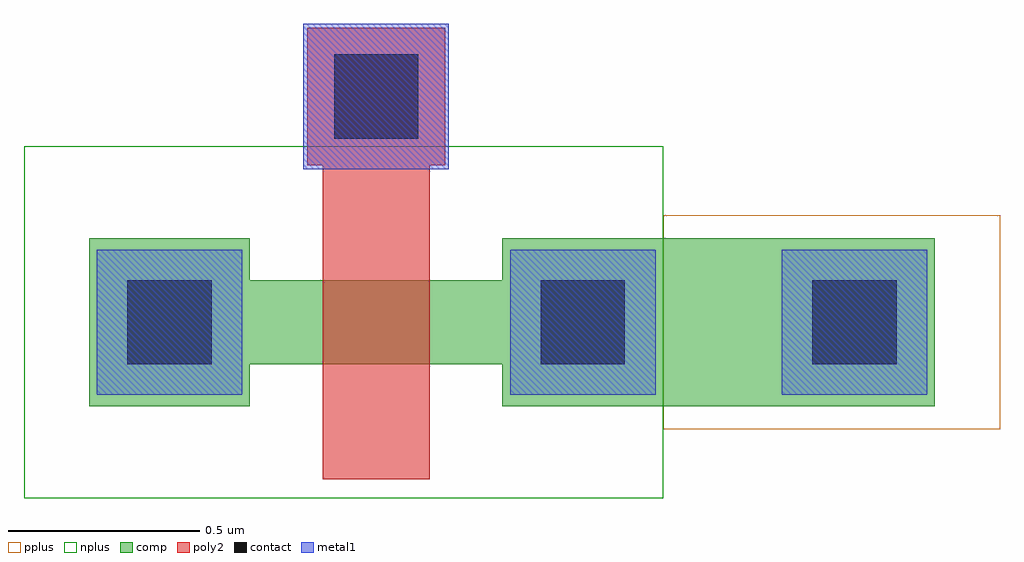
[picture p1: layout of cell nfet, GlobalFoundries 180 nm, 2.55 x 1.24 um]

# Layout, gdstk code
import gdstk
lib = gdstk.Library(unit=1e-6, precision=1e-09)
def R(c, l, rs):  # rectangles x0, y0, x1, y1
    for r in rs: c.add(gdstk.rectangle(r[:2], r[2:], *l))
comp = (22, 0)
poly2 = (30, 0)
pplus = (31, 0)
nplus = (32, 0)
contact = (33, 0)
metal1 = (34, 0)

nfet = lib.new_cell('nfet')
R(nfet, comp, [(-0.42,-0.11,0,0.33), (0.66,-0.11,1.08,0.33), (1.08,-0.11,1.79,0.33), (0,0,0.66,0.22)])
R(nfet, poly2, [(0.19,-0.3,0.47,0.52), (0.15,0.52,0.51,0.88)])
R(nfet, pplus, [(1.08,-0.17,1.96,0.39)])
R(nfet, nplus, [(-0.59,-0.35,1.08,0.57)])
R(nfet, contact, [(-0.32,0,-0.1,0.22), (0.76,0,0.98,0.22), (1.47,0,1.69,0.22), (0.22,0.59,0.44,0.81)])
R(nfet, metal1, [(-0.4,-0.08,-0.02,0.3), (0.68,-0.08,1.06,0.3), (1.39,-0.08,1.77,0.3), (0.14,0.51,0.52,0.89)])

lib.write_gds('nfet.gds')
